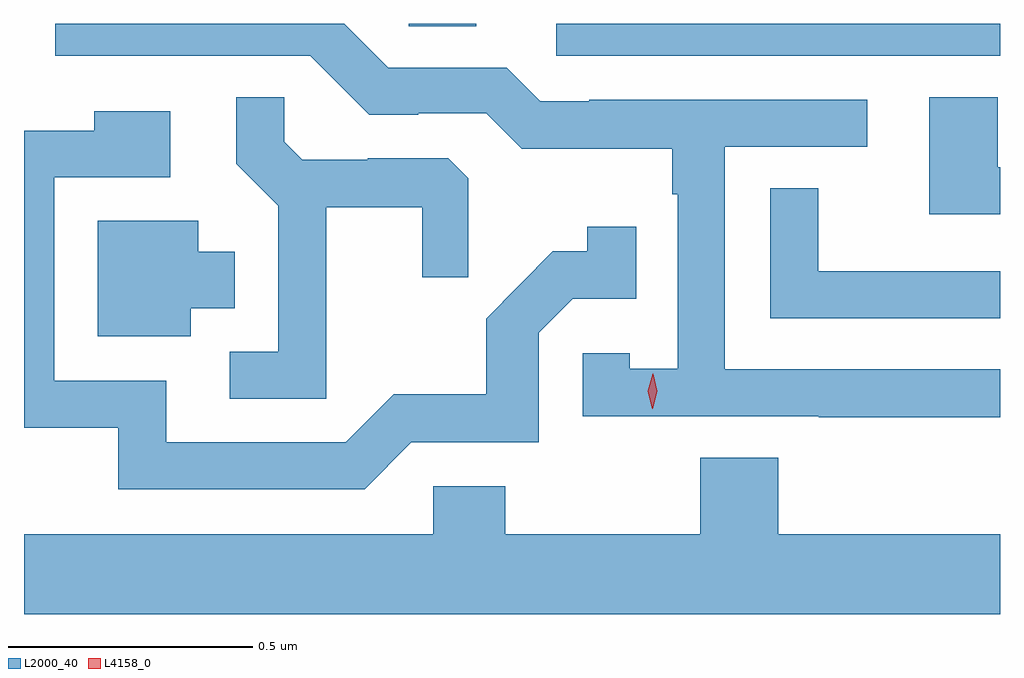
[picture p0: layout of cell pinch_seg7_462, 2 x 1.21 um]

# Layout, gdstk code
import gdstk
lib = gdstk.Library(unit=1e-6, precision=1e-09)
def R(c, l, rs):  # rectangles x0, y0, x1, y1
    for r in rs: c.add(gdstk.rectangle(r[:2], r[2:], *l))
def P(c, l, *ps):  # polygons
    for p in ps: c.add(gdstk.Polygon(p, *l))
L2000_40 = (2000, 40)
L4158_0 = (4158, 0)

pinch_seg7_462 = lib.new_cell('pinch_seg7_462')
R(pinch_seg7_462, L2000_40, [(299.679,1055.04,300.588,1055.106), (299.376,1055.101,299.515,1055.106)])
P(pinch_seg7_462, L2000_40, [(300.588,1054.398),(300.024,1054.398),(300.024,1054.854),(300.316,1054.854),(300.316,1054.95),(299.746,1054.95),(299.746,1054.947),(299.646,1054.947),(299.577,1055.016),(299.334,1055.016),(299.244,1055.106),(298.652,1055.106),(298.652,1055.04),(299.175,1055.04),(299.295,1054.92),(299.396,1054.92),(299.396,1054.923),(299.535,1054.923),(299.608,1054.85),(299.916,1054.85),(299.916,1054.757),(299.928,1054.757),(299.928,1054.399),(299.829,1054.399),(299.829,1054.431),(299.733,1054.431),(299.733,1054.302),(300.217,1054.302),(300.217,1054.3),(300.588,1054.3)],
  [(300.588,1054.812),(300.583,1054.812),(300.583,1054.955),(300.443,1054.955),(300.443,1054.716),(300.588,1054.716)],
  [(299.207,1054.73),(299.404,1054.73),(299.404,1054.587),(299.498,1054.587),(299.498,1054.789),(299.457,1054.83),(299.292,1054.83),(299.292,1054.827),(299.158,1054.827),(299.121,1054.864),(299.121,1054.955),(299.023,1054.955),(299.023,1054.819),(299.109,1054.733),(299.109,1054.434),(299.01,1054.434),(299.01,1054.338),(299.207,1054.338)],
  [(299.382,1054.248),(299.643,1054.248),(299.643,1054.473),(299.712,1054.542),(299.843,1054.542),(299.843,1054.69),(299.742,1054.69),(299.742,1054.64),(299.672,1054.64),(299.535,1054.502),(299.535,1054.347),(299.346,1054.347),(299.247,1054.248),(298.879,1054.248),(298.879,1054.374),(298.65,1054.374),(298.65,1054.791),(298.888,1054.791),(298.888,1054.927),(298.732,1054.927),(298.732,1054.887),(298.588,1054.887),(298.588,1054.278),(298.781,1054.278),(298.781,1054.152),(299.286,1054.152)],
  [(300.588,1054.599),(300.216,1054.599),(300.216,1054.769),(300.117,1054.769),(300.117,1054.503),(300.588,1054.503)],
  [(298.93,1054.523),(299.02,1054.523),(299.02,1054.639),(298.945,1054.639),(298.945,1054.702),(298.739,1054.702),(298.739,1054.466),(298.93,1054.466)],
  [(300.588,1054.06),(300.134,1054.06),(300.134,1054.217),(299.974,1054.217),(299.974,1054.06),(299.574,1054.06),(299.574,1054.158),(299.427,1054.158),(299.427,1054.06),(298.588,1054.06),(298.588,1053.896),(300.588,1053.896)])
P(pinch_seg7_462, L4158_0, [(299.875,1054.317),(299.866,1054.353),(299.876,1054.389),(299.877,1054.389),(299.877,1054.389),(299.886,1054.353),(299.876,1054.317),(299.876,1054.317)])

lib.write_gds('pinch_seg7_462.gds')
